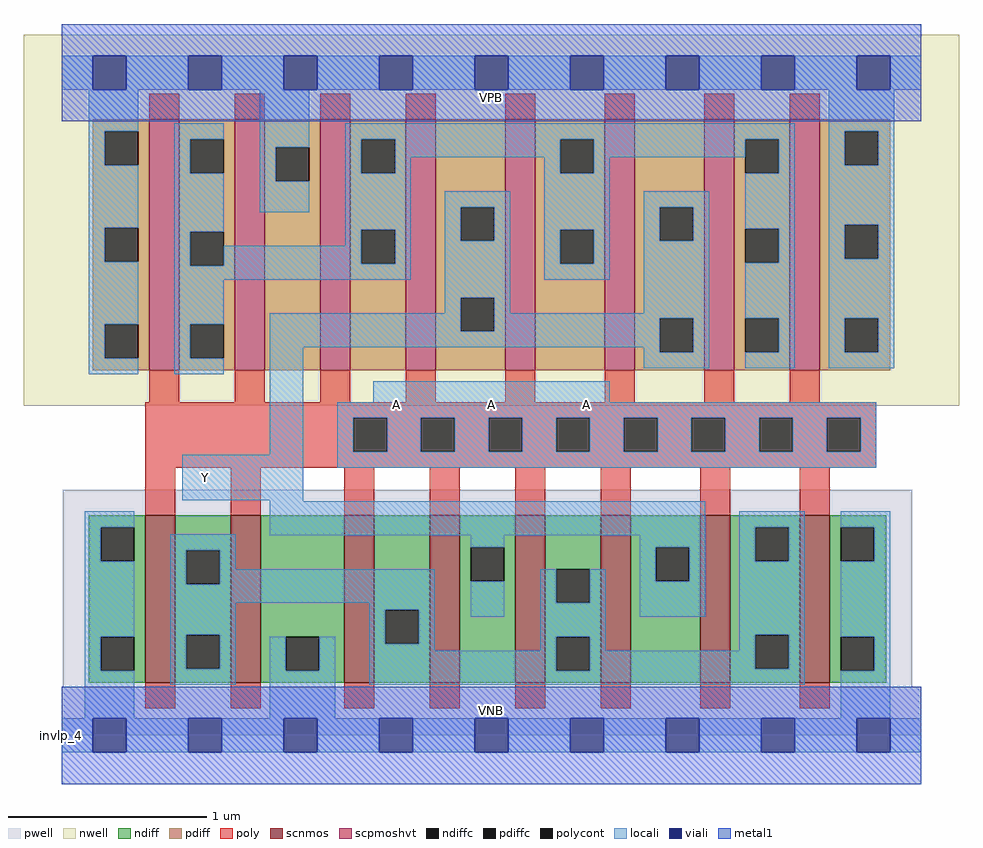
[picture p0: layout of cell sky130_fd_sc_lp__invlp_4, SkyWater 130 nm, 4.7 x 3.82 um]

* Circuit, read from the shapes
.subckt sky130_fd_sc_lp__invlp_4 A VGND VNB VPB VPWR Y
XM1 n1 A VGND VNB sky130_fd_pr__nfet_01v8 w=0.84 l=0.15 m=4
XM2 Y A n1 VNB sky130_fd_pr__nfet_01v8 w=0.84 l=0.15 m=4
XM3 n2 A VPWR VPB sky130_fd_pr__pfet_01v8_hvt w=1.26 l=0.15 m=4
XM4 Y A n2 VPB sky130_fd_pr__pfet_01v8_hvt w=1.26 l=0.15 m=4
.ends

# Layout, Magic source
magic
tech sky130A
magscale 1 2
<< nwell >>
rect -38 331 902 704
<< pwell >>
rect 1 49 855 247
rect 0 0 864 49
<< scnmos >>
rect 84 53 114 221
rect 170 53 200 221
rect 284 53 314 221
rect 370 53 400 221
rect 456 53 486 221
rect 542 53 572 221
rect 642 53 672 221
rect 742 53 772 221
<< scpmoshvt >>
rect 88 367 118 619
rect 174 367 204 619
rect 260 367 290 619
rect 346 367 376 619
rect 446 367 476 619
rect 546 367 576 619
rect 646 367 676 619
rect 732 367 762 619
<< ndiff >>
rect 27 209 84 221
rect 27 175 39 209
rect 73 175 84 209
rect 27 99 84 175
rect 27 65 39 99
rect 73 65 84 99
rect 27 53 84 65
rect 114 186 170 221
rect 114 152 125 186
rect 159 152 170 186
rect 114 101 170 152
rect 114 67 125 101
rect 159 67 170 101
rect 114 53 170 67
rect 200 99 284 221
rect 200 65 225 99
rect 259 65 284 99
rect 200 53 284 65
rect 314 126 370 221
rect 314 92 325 126
rect 359 92 370 126
rect 314 53 370 92
rect 400 189 456 221
rect 400 155 411 189
rect 445 155 456 189
rect 400 53 456 155
rect 486 167 542 221
rect 486 133 497 167
rect 531 133 542 167
rect 486 99 542 133
rect 486 65 497 99
rect 531 65 542 99
rect 486 53 542 65
rect 572 189 642 221
rect 572 155 597 189
rect 631 155 642 189
rect 572 53 642 155
rect 672 209 742 221
rect 672 175 697 209
rect 731 175 742 209
rect 672 101 742 175
rect 672 67 697 101
rect 731 67 742 101
rect 672 53 742 67
rect 772 209 829 221
rect 772 175 783 209
rect 817 175 829 209
rect 772 99 829 175
rect 772 65 783 99
rect 817 65 829 99
rect 772 53 829 65
<< pdiff >>
rect 31 607 88 619
rect 31 573 43 607
rect 77 573 88 607
rect 31 510 88 573
rect 31 476 43 510
rect 77 476 88 510
rect 31 413 88 476
rect 31 379 43 413
rect 77 379 88 413
rect 31 367 88 379
rect 118 599 174 619
rect 118 565 129 599
rect 163 565 174 599
rect 118 506 174 565
rect 118 472 129 506
rect 163 472 174 506
rect 118 413 174 472
rect 118 379 129 413
rect 163 379 174 413
rect 118 367 174 379
rect 204 591 260 619
rect 204 557 215 591
rect 249 557 260 591
rect 204 367 260 557
rect 290 599 346 619
rect 290 565 301 599
rect 335 565 346 599
rect 290 508 346 565
rect 290 474 301 508
rect 335 474 346 508
rect 290 367 346 474
rect 376 531 446 619
rect 376 497 401 531
rect 435 497 446 531
rect 376 440 446 497
rect 376 406 401 440
rect 435 406 446 440
rect 376 367 446 406
rect 476 599 546 619
rect 476 565 501 599
rect 535 565 546 599
rect 476 508 546 565
rect 476 474 501 508
rect 535 474 546 508
rect 476 367 546 474
rect 576 531 646 619
rect 576 497 601 531
rect 635 497 646 531
rect 576 419 646 497
rect 576 385 601 419
rect 635 385 646 419
rect 576 367 646 385
rect 676 599 732 619
rect 676 565 687 599
rect 721 565 732 599
rect 676 509 732 565
rect 676 475 687 509
rect 721 475 732 509
rect 676 419 732 475
rect 676 385 687 419
rect 721 385 732 419
rect 676 367 732 385
rect 762 607 833 619
rect 762 573 787 607
rect 821 573 833 607
rect 762 513 833 573
rect 762 479 787 513
rect 821 479 833 513
rect 762 419 833 479
rect 762 385 787 419
rect 821 385 833 419
rect 762 367 833 385
<< ndiffc >>
rect 39 175 73 209
rect 39 65 73 99
rect 125 152 159 186
rect 125 67 159 101
rect 225 65 259 99
rect 325 92 359 126
rect 411 155 445 189
rect 497 133 531 167
rect 497 65 531 99
rect 597 155 631 189
rect 697 175 731 209
rect 697 67 731 101
rect 783 175 817 209
rect 783 65 817 99
<< pdiffc >>
rect 43 573 77 607
rect 43 476 77 510
rect 43 379 77 413
rect 129 565 163 599
rect 129 472 163 506
rect 129 379 163 413
rect 215 557 249 591
rect 301 565 335 599
rect 301 474 335 508
rect 401 497 435 531
rect 401 406 435 440
rect 501 565 535 599
rect 501 474 535 508
rect 601 497 635 531
rect 601 385 635 419
rect 687 565 721 599
rect 687 475 721 509
rect 687 385 721 419
rect 787 573 821 607
rect 787 479 821 513
rect 787 385 821 419
<< poly >>
rect 88 619 118 645
rect 174 619 204 645
rect 260 619 290 645
rect 346 619 376 645
rect 446 619 476 645
rect 546 619 576 645
rect 646 619 676 645
rect 732 619 762 645
rect 88 335 118 367
rect 174 335 204 367
rect 260 335 290 367
rect 346 335 376 367
rect 446 335 476 367
rect 546 335 576 367
rect 646 335 676 367
rect 732 335 762 367
rect 84 319 819 335
rect 84 285 293 319
rect 327 285 361 319
rect 395 285 429 319
rect 463 285 497 319
rect 531 285 565 319
rect 599 285 633 319
rect 667 285 701 319
rect 735 285 769 319
rect 803 285 819 319
rect 84 269 819 285
rect 84 221 114 269
rect 170 221 200 269
rect 284 221 314 269
rect 370 221 400 269
rect 456 221 486 269
rect 542 221 572 269
rect 642 221 672 269
rect 742 221 772 269
rect 84 27 114 53
rect 170 27 200 53
rect 284 27 314 53
rect 370 27 400 53
rect 456 27 486 53
rect 542 27 572 53
rect 642 27 672 53
rect 742 27 772 53
<< polycont >>
rect 293 285 327 319
rect 361 285 395 319
rect 429 285 463 319
rect 497 285 531 319
rect 565 285 599 319
rect 633 285 667 319
rect 701 285 735 319
rect 769 285 803 319
<< locali >>
rect 0 649 31 683
rect 65 649 127 683
rect 161 649 223 683
rect 257 649 319 683
rect 353 649 415 683
rect 449 649 511 683
rect 545 649 607 683
rect 641 649 703 683
rect 737 649 799 683
rect 833 649 864 683
rect 27 607 77 649
rect 27 573 43 607
rect 27 510 77 573
rect 27 476 43 510
rect 27 413 77 476
rect 27 379 43 413
rect 27 363 77 379
rect 113 599 163 615
rect 113 565 129 599
rect 113 506 163 565
rect 199 591 249 649
rect 199 557 215 591
rect 199 526 249 557
rect 285 599 737 615
rect 285 565 301 599
rect 335 581 501 599
rect 335 565 351 581
rect 113 472 129 506
rect 285 508 351 565
rect 485 565 501 581
rect 535 581 687 599
rect 535 565 551 581
rect 285 492 301 508
rect 163 474 301 492
rect 335 474 351 508
rect 163 472 351 474
rect 113 458 351 472
rect 385 531 451 547
rect 385 497 401 531
rect 435 497 451 531
rect 113 413 163 458
rect 385 440 451 497
rect 485 508 551 565
rect 721 565 737 599
rect 485 474 501 508
rect 535 474 551 508
rect 485 458 551 474
rect 585 531 651 547
rect 585 497 601 531
rect 635 497 651 531
rect 385 424 401 440
rect 113 379 129 413
rect 113 363 163 379
rect 209 406 401 424
rect 435 424 451 440
rect 585 424 651 497
rect 435 419 651 424
rect 435 406 601 419
rect 209 390 601 406
rect 209 282 243 390
rect 585 385 601 390
rect 635 385 651 419
rect 585 369 651 385
rect 687 509 737 565
rect 721 475 737 509
rect 687 419 737 475
rect 721 385 737 419
rect 687 369 737 385
rect 771 607 837 649
rect 771 573 787 607
rect 821 573 837 607
rect 771 513 837 573
rect 771 479 787 513
rect 821 479 837 513
rect 771 419 837 479
rect 771 385 787 419
rect 821 385 837 419
rect 771 369 837 385
rect 313 335 551 356
rect 121 236 243 282
rect 277 319 819 335
rect 277 285 293 319
rect 327 285 361 319
rect 395 285 429 319
rect 463 285 497 319
rect 531 285 565 319
rect 599 285 633 319
rect 667 285 701 319
rect 735 285 769 319
rect 803 285 819 319
rect 277 269 819 285
rect 209 235 243 236
rect 23 209 73 225
rect 23 175 39 209
rect 23 99 73 175
rect 23 65 39 99
rect 23 17 73 65
rect 109 186 175 202
rect 209 201 647 235
rect 109 152 125 186
rect 159 167 175 186
rect 411 189 445 201
rect 159 152 375 167
rect 109 133 375 152
rect 109 101 175 133
rect 109 67 125 101
rect 159 67 175 101
rect 309 126 375 133
rect 109 51 175 67
rect 209 65 225 99
rect 259 65 275 99
rect 209 17 275 65
rect 309 92 325 126
rect 359 92 375 126
rect 581 189 647 201
rect 411 119 445 155
rect 481 133 497 167
rect 531 133 547 167
rect 309 85 375 92
rect 481 99 547 133
rect 581 155 597 189
rect 631 155 647 189
rect 581 119 647 155
rect 681 209 747 225
rect 681 175 697 209
rect 731 175 747 209
rect 481 85 497 99
rect 309 65 497 85
rect 531 85 547 99
rect 681 101 747 175
rect 681 85 697 101
rect 531 67 697 85
rect 731 67 747 101
rect 531 65 747 67
rect 309 51 747 65
rect 783 209 833 225
rect 817 175 833 209
rect 783 99 833 175
rect 817 65 833 99
rect 783 17 833 65
rect 0 -17 31 17
rect 65 -17 127 17
rect 161 -17 223 17
rect 257 -17 319 17
rect 353 -17 415 17
rect 449 -17 511 17
rect 545 -17 607 17
rect 641 -17 703 17
rect 737 -17 799 17
rect 833 -17 864 17
<< viali >>
rect 31 649 65 683
rect 127 649 161 683
rect 223 649 257 683
rect 319 649 353 683
rect 415 649 449 683
rect 511 649 545 683
rect 607 649 641 683
rect 703 649 737 683
rect 799 649 833 683
rect 31 -17 65 17
rect 127 -17 161 17
rect 223 -17 257 17
rect 319 -17 353 17
rect 415 -17 449 17
rect 511 -17 545 17
rect 607 -17 641 17
rect 703 -17 737 17
rect 799 -17 833 17
<< metal1 >>
rect 0 683 864 715
rect 0 649 31 683
rect 65 649 127 683
rect 161 649 223 683
rect 257 649 319 683
rect 353 649 415 683
rect 449 649 511 683
rect 545 649 607 683
rect 641 649 703 683
rect 737 649 799 683
rect 833 649 864 683
rect 0 617 864 649
rect 0 17 864 49
rect 0 -17 31 17
rect 65 -17 127 17
rect 161 -17 223 17
rect 257 -17 319 17
rect 353 -17 415 17
rect 449 -17 511 17
rect 545 -17 607 17
rect 641 -17 703 17
rect 737 -17 799 17
rect 833 -17 864 17
rect 0 -49 864 -17
<< labels >>
flabel pwell s 0 0 864 49 0 FreeSans 200 0 0 0 VNB
port 3 nsew ground bidirectional
flabel nwell s 0 617 864 666 0 FreeSans 200 0 0 0 VPB
port 4 nsew power bidirectional
rlabel comment s 0 0 0 0 4 invlp_4
flabel metal1 s 0 617 864 666 0 FreeSans 340 0 0 0 VPWR
port 5 nsew power bidirectional
flabel metal1 s 0 0 864 49 0 FreeSans 340 0 0 0 VGND
port 2 nsew ground bidirectional
flabel locali s 319 316 353 350 0 FreeSans 340 0 0 0 A
port 1 nsew signal input
flabel locali s 415 316 449 350 0 FreeSans 340 0 0 0 A
port 1 nsew signal input
flabel locali s 511 316 545 350 0 FreeSans 340 0 0 0 A
port 1 nsew signal input
flabel locali s 127 242 161 276 0 FreeSans 340 0 0 0 Y
port 6 nsew signal output
<< properties >>
string LEFsite unit
string LEFclass CORE
string FIXED_BBOX 0 0 864 666
string GDS_FILE $PDKPATH/libs.ref/sky130_fd_sc_lp/gds/sky130_fd_sc_lp.gds
string LEFsymmetry X Y R90
string GDS_END 6824574
string GDS_START 6817288
<< end >>
